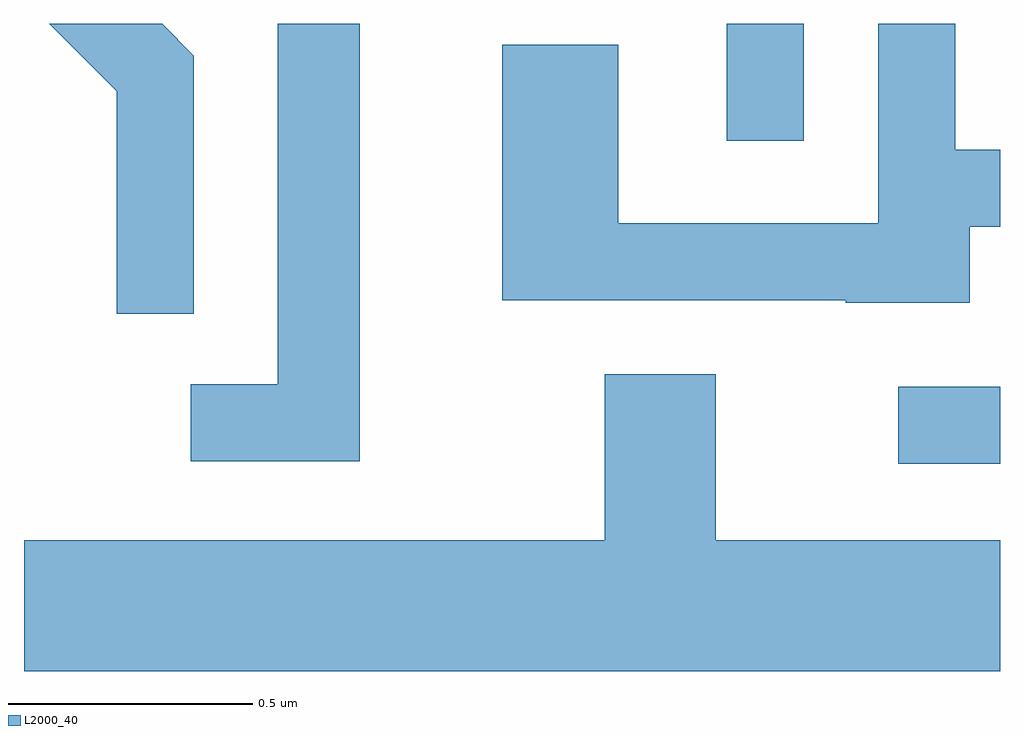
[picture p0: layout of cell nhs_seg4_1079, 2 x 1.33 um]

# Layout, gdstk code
import gdstk
lib = gdstk.Library(unit=1e-6, precision=1e-09)
def R(c, l, rs):  # rectangles x0, y0, x1, y1
    for r in rs: c.add(gdstk.rectangle(r[:2], r[2:], *l))
def P(c, l, *ps):  # polygons
    for p in ps: c.add(gdstk.Polygon(p, *l))
L2000_40 = (2000, 40)

nhs_seg4_1079 = lib.new_cell('nhs_seg4_1079')
R(nhs_seg4_1079, L2000_40, [(194.403,1375.081,194.611,1375.239), (194.051,1375.743,194.209,1375.982)])
P(nhs_seg4_1079, L2000_40, [(194.549,1375.566),(194.611,1375.566),(194.611,1375.724),(194.519,1375.724),(194.519,1375.982),(194.361,1375.982),(194.361,1375.574),(193.829,1375.574),(193.829,1375.939),(193.591,1375.939),(193.591,1375.416),(194.295,1375.416),(194.295,1375.411),(194.549,1375.411)],
  [(193.299,1375.982),(193.131,1375.982),(193.131,1375.244),(192.953,1375.244),(192.953,1375.086),(193.299,1375.086)],
  [(192.959,1375.917),(192.894,1375.982),(192.663,1375.982),(192.801,1375.844),(192.801,1375.388),(192.959,1375.388)],
  [(194.611,1374.924),(194.029,1374.924),(194.029,1375.264),(193.801,1375.264),(193.801,1374.924),(192.611,1374.924),(192.611,1374.656),(194.611,1374.656)])

lib.write_gds('nhs_seg4_1079.gds')
